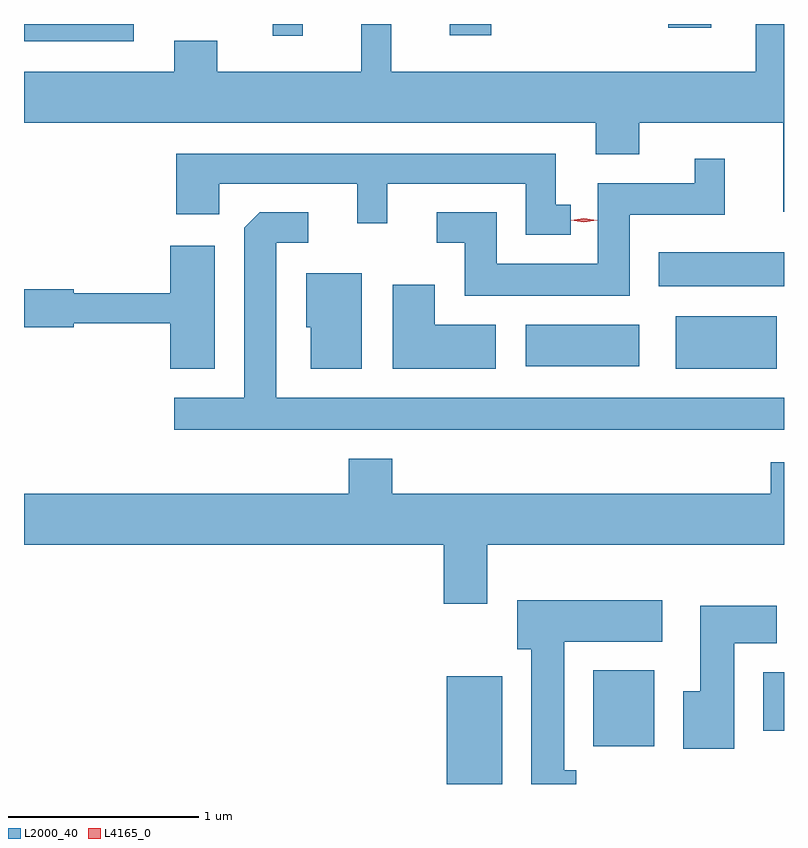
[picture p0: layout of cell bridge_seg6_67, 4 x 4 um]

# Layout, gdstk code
import gdstk
lib = gdstk.Library(unit=1e-6, precision=1e-09)
def R(c, l, rs):  # rectangles x0, y0, x1, y1
    for r in rs: c.add(gdstk.rectangle(r[:2], r[2:], *l))
def P(c, l, *ps):  # polygons
    for p in ps: c.add(gdstk.Polygon(p, *l))
L2000_40 = (2000, 40)
L4165_0 = (4165, 0)

bridge_seg6_67 = lib.new_cell('bridge_seg6_67')
R(bridge_seg6_67, L2000_40, [(1257.186,1635.356,1257.479,1635.924), (1257.956,1635.556,1258.279,1635.954), (1258.851,1635.636,1258.961,1635.944), (1258.391,1637.541,1258.924,1637.819), (1257.601,1637.556,1258.199,1637.774), (1258.301,1637.976,1258.961,1638.154), (1254.961,1639.266,1255.539,1639.356), (1256.271,1639.293,1256.429,1639.356), (1257.201,1639.296,1257.419,1639.356), (1258.351,1639.336,1258.579,1639.356)])
P(bridge_seg6_67, L2000_40, [(1258.961,1639.356),(1258.811,1639.356),(1258.811,1639.104),(1256.894,1639.104),(1256.894,1639.356),(1256.736,1639.356),(1256.736,1639.104),(1255.979,1639.104),(1255.979,1639.269),(1255.751,1639.269),(1255.751,1639.104),(1254.961,1639.104),(1254.961,1638.836),(1257.971,1638.836),(1257.971,1638.671),(1258.199,1638.671),(1258.199,1638.836),(1258.956,1638.836),(1258.956,1638.368),(1258.961,1638.368)],
  [(1257.838,1638.404),(1257.759,1638.404),(1257.759,1638.674),(1255.761,1638.674),(1255.761,1638.356),(1255.989,1638.356),(1255.989,1638.516),(1256.716,1638.516),(1256.716,1638.308),(1256.874,1638.308),(1256.874,1638.516),(1257.601,1638.516),(1257.601,1638.246),(1257.838,1638.246)],
  [(1258.149,1638.351),(1258.649,1638.351),(1258.649,1638.648),(1258.491,1638.648),(1258.491,1638.519),(1257.981,1638.519),(1257.981,1638.094),(1257.449,1638.094),(1257.449,1638.364),(1257.133,1638.364),(1257.133,1638.206),(1257.281,1638.206),(1257.281,1637.926),(1258.149,1637.926)],
  [(1258.961,1637.389),(1256.289,1637.389),(1256.289,1638.206),(1256.458,1638.206),(1256.458,1638.364),(1256.202,1638.364),(1256.121,1638.284),(1256.121,1637.389),(1255.753,1637.389),(1255.753,1637.221),(1258.961,1637.221)],
  [(1255.964,1638.189),(1255.731,1638.189),(1255.731,1637.939),(1255.224,1637.939),(1255.224,1637.959),(1254.961,1637.959),(1254.961,1637.761),(1255.224,1637.761),(1255.224,1637.781),(1255.731,1637.781),(1255.731,1637.541),(1255.964,1637.541)],
  [(1256.739,1638.044),(1256.446,1638.044),(1256.446,1637.761),(1256.471,1637.761),(1256.471,1637.541),(1256.739,1637.541)],
  [(1257.444,1637.774),(1257.124,1637.774),(1257.124,1637.984),(1256.901,1637.984),(1256.901,1637.541),(1257.444,1637.541)],
  [(1257.399,1636.616),(1258.961,1636.616),(1258.961,1637.049),(1258.891,1637.049),(1258.891,1636.884),(1256.899,1636.884),(1256.899,1637.069),(1256.671,1637.069),(1256.671,1636.884),(1254.961,1636.884),(1254.961,1636.616),(1257.171,1636.616),(1257.171,1636.306),(1257.399,1636.306)],
  [(1257.868,1635.429),(1257.804,1635.429),(1257.804,1636.106),(1258.319,1636.106),(1258.319,1636.324),(1257.556,1636.324),(1257.556,1636.066),(1257.631,1636.066),(1257.631,1635.356),(1257.868,1635.356)],
  [(1258.699,1636.096),(1258.924,1636.096),(1258.924,1636.294),(1258.521,1636.294),(1258.521,1635.844),(1258.431,1635.844),(1258.431,1635.541),(1258.699,1635.541)])
P(bridge_seg6_67, L4165_0, [(1257.908,1638.313),(1257.839,1638.323),(1257.839,1638.323),(1257.839,1638.324),(1257.908,1638.333),(1257.978,1638.324),(1257.978,1638.323),(1257.978,1638.323)])

lib.write_gds('bridge_seg6_67.gds')
